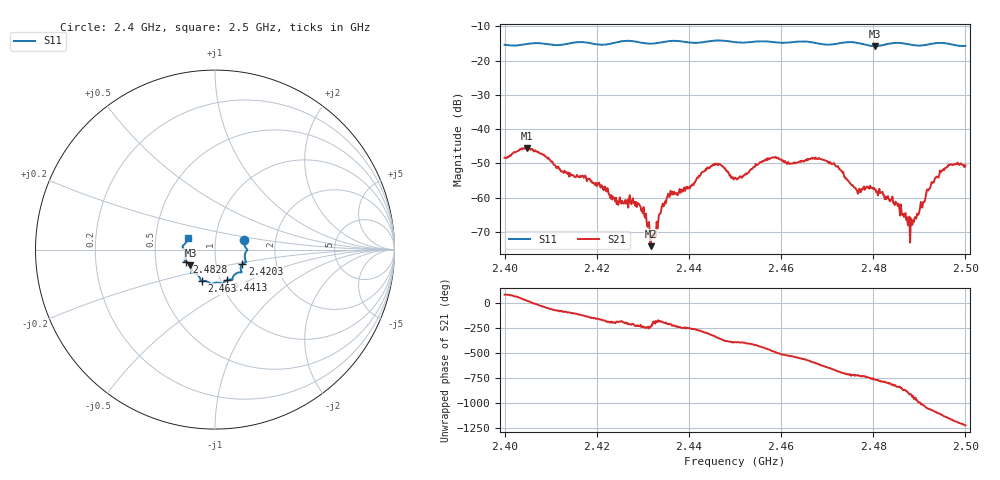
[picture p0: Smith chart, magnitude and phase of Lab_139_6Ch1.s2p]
# Hz S RI R 50
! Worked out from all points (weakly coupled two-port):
!   601 points, 2.4 GHz to 2.5 GHz, reference 50 ohm
!   highest |S21| = -45.47 dB at 2.4048 GHz (marker M1); lowest = -74.2 dB at 2.4317 GHz (marker M2)
!   lowest |S11| = -15.7 dB at 2.4803 GHz (marker M3), VSWR 1.39, Z = 37.4 - j6.81 ohm
!   |S11| at or under -10 dB: start of sweep to end of sweep
!   S12 and S22 are empty: the file has one direction only
!   S11 on the Smith chart (normalised r, x): 2.4 GHz: 1.38, +0.15; 2.4203 GHz: 1.34, -0.22; 2.4413 GHz: 1.08, -0.38; 2.463 GHz: 0.82, -0.29; 2.4828 GHz: 0.72, -0.10; 2.5 GHz: 0.73, +0.10
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2.4e9  0.1628 0.0527  0.000182 0.00383  0 0  0 0
2.404833e9  0.1753 0.00462  0.00476 0.0024  0 0  0 0
2.416667e9  0.1737 -0.0696  -0.00103 -0.00178  0 0  0 0
2.420333e9  0.1527 -0.08  -0.00151 -0.000659  0 0  0 0
2.429e9  0.1378 -0.1265  -0.000605 0.000551  0 0  0 0
2.431667e9  0.1112 -0.1376  -0.000101 0.000168  0 0  0 0
2.433333e9  0.1001 -0.1517  -0.000438 -7.44e-05  0 0  0 0
2.435667e9  0.0978 -0.1669  -0.000936 0.000452  0 0  0 0
2.441333e9  0.0674 -0.1694  -0.000308 0.00164  0 0  0 0
2.446e9  0.0419 -0.1927  0.00298 0.00099  0 0  0 0
2.45e9  0.0245 -0.1851  0.0017 -0.000976  0 0  0 0
2.458167e9  -0.0315 -0.185  -0.00198 -0.00333  0 0  0 0
2.463e9  -0.0723 -0.1735  -0.00319 -7.53e-06  0 0  0 0
2.466667e9  -0.0813 -0.1673  -0.00249 0.00286  0 0  0 0
2.471833e9  -0.1169 -0.1313  0.00201 0.00206  0 0  0 0
2.476833e9  -0.1314 -0.1243  0.00125 -0.000216  0 0  0 0
2.480333e9  -0.1372 -0.0886  0.000899 -0.000982  0 0  0 0
2.482833e9  -0.1588 -0.0702  0.000227 -0.000922  0 0  0 0
2.483333e9  -0.1628 -0.0684  3.53e-05 -0.000982  0 0  0 0
2.488e9  -0.1656 -0.0472  -0.000214 5.71e-05  0 0  0 0
2.495e9  -0.1808 0.0186  0.00177 -0.00175  0 0  0 0
2.5e9  -0.1517 0.064  -0.00253 -0.00155  0 0  0 0
